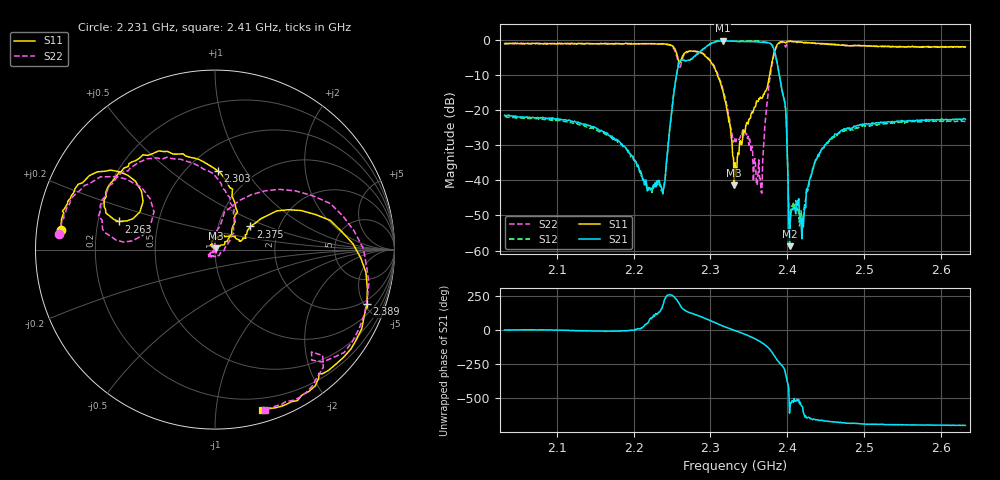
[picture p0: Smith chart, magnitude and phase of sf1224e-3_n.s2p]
!Agilent Technologies,E5071C,MY46104097,A.08.12
!Date: Thu Apr 20 13:38:42 2017
!Data & Calibration Information:
!Freq	S11:SOLT2(ON)	S21:SOLT2(ON)	S12:SOLT2(ON)	S22:SOLT2(ON)
# Hz S RI R 50
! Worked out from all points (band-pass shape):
!   601 points, 2.032 GHz to 2.632 GHz, reference 50 ohm
!   highest |S21| = -0.33 dB at 2.316 GHz (marker M1); lowest = -58.7 dB at 2.403 GHz (marker M2)
!   |S21| within 3 dB of the highest: 2.287 GHz to 2.384 GHz (96.51 MHz wide, 4.13 % of centre)
!   lowest |S11| = -41.5 dB at 2.331 GHz (marker M3), VSWR 1.02, Z = 50.5 + j0.713 ohm
!   |S11| at or under -10 dB: 2.309 GHz to 2.377 GHz (68.33 MHz wide, 2.92 % of centre)
!   |S22| runs from -43.7 to -0.5 dB; largest |S21 - S12| = 0.035
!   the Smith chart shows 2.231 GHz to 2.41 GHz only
!   S11 on the Smith chart (normalised r, x): 2.231 GHz: 0.07, +0.06; 2.263 GHz: 0.29, +0.13; 2.303 GHz: 0.70, +0.75; 2.375 GHz: 1.43, +0.39; 2.389 GHz: 1.65, -5.25; 2.41 GHz: 0.10, -1.33
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2.032e9  -0.6944 -0.535  0.084 0.00088  0.081 0.00151  -0.6792 -0.5441
2.132e9  -0.8103 -0.3536  0.0637 -0.00488  0.0609 -0.00386  -0.7873 -0.3768
2.231e9  -0.8576 0.1103  -0.00391 0.00761  -0.00558 0.00817  -0.8692 0.0846
2.232e9  -0.8659 0.1167  -0.0061 0.00725  -0.00622 0.00666  -0.8615 0.0927
2.239e9  -0.8496 0.2159  -0.00734 -0.002  -0.00691 -0.00241  -0.8408 0.178
2.263e9  -0.5369 0.1569  -0.4909 0.1543  -0.4974 0.148  -0.5072 0.0416
2.303e9  0.0165 0.4373  0.4285 0.7952  0.419 0.8085  -0.0624 0.4478
2.316e9  0.112 0.154  0.8313 0.4853  0.838 0.4892  0.1087 0.1674
2.331e9  0.00463 0.00706  0.9478 -0.0251  0.9558 -0.023  0.028 -0.0232
2.332e9  0.00111 0.0177  0.9473 -0.0581  0.9548 -0.064  0.0229 -0.033
2.348e9  -0.000975 0.0666  0.7431 -0.5741  0.7571 -0.5855  -0.0283 -0.028
2.364e9  0.1351 0.0482  0.1254 -0.9156  0.1076 -0.9429  -0.00417 -0.0098
2.375e9  0.1971 0.1288  -0.5491 -0.7164  -0.5802 -0.7014  0.0406 0.1672
2.381e9  0.4799 0.2178  -0.7921 -0.1419  -0.7971 -0.1215  0.3561 0.3357
2.389e9  0.8466 -0.3034  -0.2022 0.2822  -0.1953 0.2902  0.8575 -0.1861
2.397e9  0.5971 -0.6921  0.0621 0.1084  0.0686 0.1053  0.5388 -0.6155
2.403e9  0.4589 -0.8419  -0.000382 0.00109  -0.00137 -6.26e-05  0.5063 -0.7977
2.41e9  0.2614 -0.8942  -0.00396 -0.00121  -0.00411 -0.00146  0.2781 -0.8955
2.42e9  0.0579 -0.9168  -0.00266 0.00129  -0.00178 0.00178  0.0666 -0.9157
2.432e9  -0.1261 -0.8891  0.00496 0.0113  0.00476 0.0119  -0.1085 -0.8863
2.532e9  -0.5253 -0.6018  0.0616 0.0283  0.0582 0.0271  -0.5237 -0.6072
2.632e9  -0.6264 -0.4804  0.0693 0.0244  0.0645 0.0225  -0.6227 -0.483
